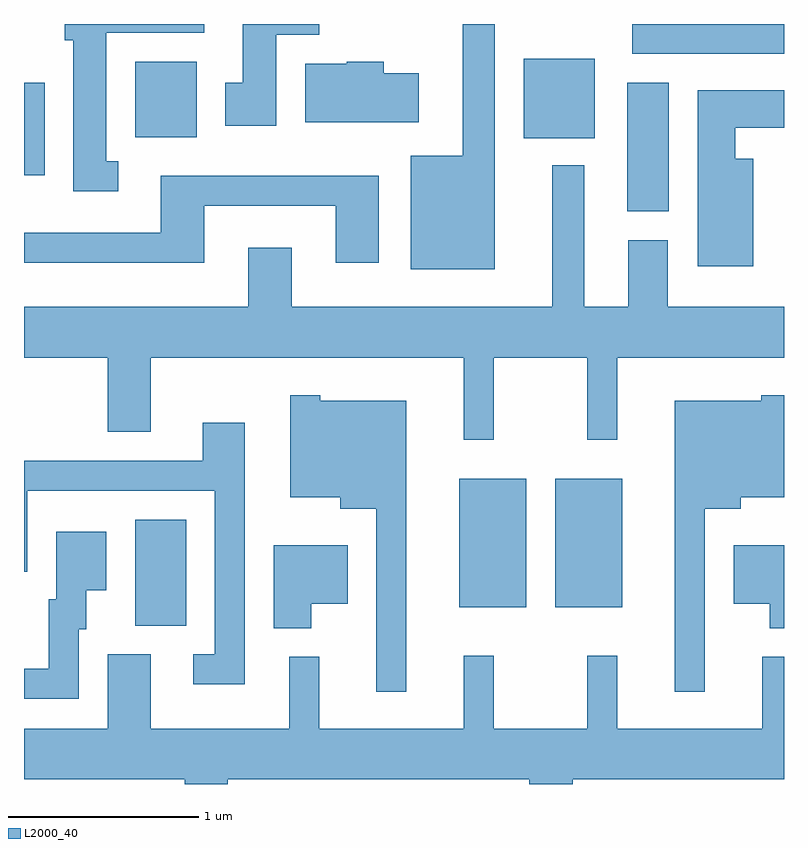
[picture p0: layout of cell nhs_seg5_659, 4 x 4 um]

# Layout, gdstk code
import gdstk
lib = gdstk.Library(unit=1e-6, precision=1e-09)
def R(c, l, rs):  # rectangles x0, y0, x1, y1
    for r in rs: c.add(gdstk.rectangle(r[:2], r[2:], *l))
def P(c, l, *ps):  # polygons
    for p in ps: c.add(gdstk.Polygon(p, *l))
L2000_40 = (2000, 40)

nhs_seg5_659 = lib.new_cell('nhs_seg5_659')
R(nhs_seg5_659, L2000_40, [(204.196,1490.906,204.464,1491.464), (205.901,1491.001,206.254,1491.679), (206.406,1491.001,206.759,1491.679), (206.786,1493.086,207.004,1493.764), (203.611,1493.276,203.719,1493.764), (206.241,1493.471,206.614,1493.889), (204.196,1493.476,204.519,1493.874), (206.811,1493.916,207.611,1494.072)])
P(nhs_seg5_659, L2000_40, [(204.108,1493.349),(204.044,1493.349),(204.044,1494.026),(204.559,1494.026),(204.559,1494.072),(203.826,1494.072),(203.826,1493.986),(203.871,1493.986),(203.871,1493.191),(204.108,1493.191)],
  [(204.939,1494.016),(205.164,1494.016),(205.164,1494.072),(204.761,1494.072),(204.761,1493.764),(204.671,1493.764),(204.671,1493.536),(204.939,1493.536)],
  [(206.089,1494.072),(205.921,1494.072),(205.921,1493.379),(205.646,1493.379),(205.646,1492.781),(206.089,1492.781)],
  [(205.689,1493.814),(205.504,1493.814),(205.504,1493.874),(205.31,1493.874),(205.31,1493.864),(205.091,1493.864),(205.091,1493.556),(205.689,1493.556)],
  [(207.449,1493.364),(207.354,1493.364),(207.354,1493.526),(207.611,1493.526),(207.611,1493.724),(207.156,1493.724),(207.156,1492.796),(207.449,1492.796)],
  [(206.084,1492.316),(206.576,1492.316),(206.576,1491.883),(206.734,1491.883),(206.734,1492.316),(207.611,1492.316),(207.611,1492.584),(206.999,1492.584),(206.999,1492.934),(206.791,1492.934),(206.791,1492.584),(206.559,1492.584),(206.559,1493.328),(206.391,1493.328),(206.391,1492.584),(205.019,1492.584),(205.019,1492.894),(204.791,1492.894),(204.791,1492.584),(203.611,1492.584),(203.611,1492.316),(204.051,1492.316),(204.051,1491.926),(204.279,1491.926),(204.279,1492.316),(205.926,1492.316),(205.926,1491.883),(206.084,1491.883)],
  [(204.559,1493.116),(205.251,1493.116),(205.251,1492.816),(205.479,1492.816),(205.479,1493.274),(204.331,1493.274),(204.331,1492.974),(203.611,1492.974),(203.611,1492.816),(204.559,1492.816)],
  [(207.194,1491.521),(207.384,1491.521),(207.384,1491.581),(207.611,1491.581),(207.611,1492.119),(207.491,1492.119),(207.491,1492.089),(207.036,1492.089),(207.036,1490.558),(207.194,1490.558)],
  [(205.624,1492.089),(205.169,1492.089),(205.169,1492.119),(205.011,1492.119),(205.011,1491.581),(205.276,1491.581),(205.276,1491.521),(205.466,1491.521),(205.466,1490.558),(205.624,1490.558)],
  [(204.774,1491.974),(204.551,1491.974),(204.551,1491.774),(203.611,1491.774),(203.611,1491.188),(203.629,1491.188),(203.629,1491.616),(204.616,1491.616),(204.616,1490.754),(204.503,1490.754),(204.503,1490.596),(204.774,1490.596)],
  [(203.899,1490.886),(203.939,1490.886),(203.939,1491.091),(204.044,1491.091),(204.044,1491.399),(203.781,1491.399),(203.781,1491.044),(203.741,1491.044),(203.741,1490.679),(203.611,1490.679),(203.611,1490.521),(203.899,1490.521)],
  [(205.124,1491.021),(205.314,1491.021),(205.314,1491.329),(204.926,1491.329),(204.926,1490.891),(205.124,1490.891)],
  [(207.611,1491.329),(207.346,1491.329),(207.346,1491.021),(207.536,1491.021),(207.536,1490.891),(207.611,1490.891)],
  [(204.684,1490.096),(206.271,1490.096),(206.271,1490.072),(206.499,1490.072),(206.499,1490.096),(207.611,1490.096),(207.611,1490.743),(207.496,1490.743),(207.496,1490.364),(206.734,1490.364),(206.734,1490.748),(206.576,1490.748),(206.576,1490.364),(206.084,1490.364),(206.084,1490.748),(205.926,1490.748),(205.926,1490.364),(205.164,1490.364),(205.164,1490.743),(205.006,1490.743),(205.006,1490.364),(204.279,1490.364),(204.279,1490.754),(204.051,1490.754),(204.051,1490.364),(203.611,1490.364),(203.611,1490.096),(204.456,1490.096),(204.456,1490.072),(204.684,1490.072)])

lib.write_gds('nhs_seg5_659.gds')
